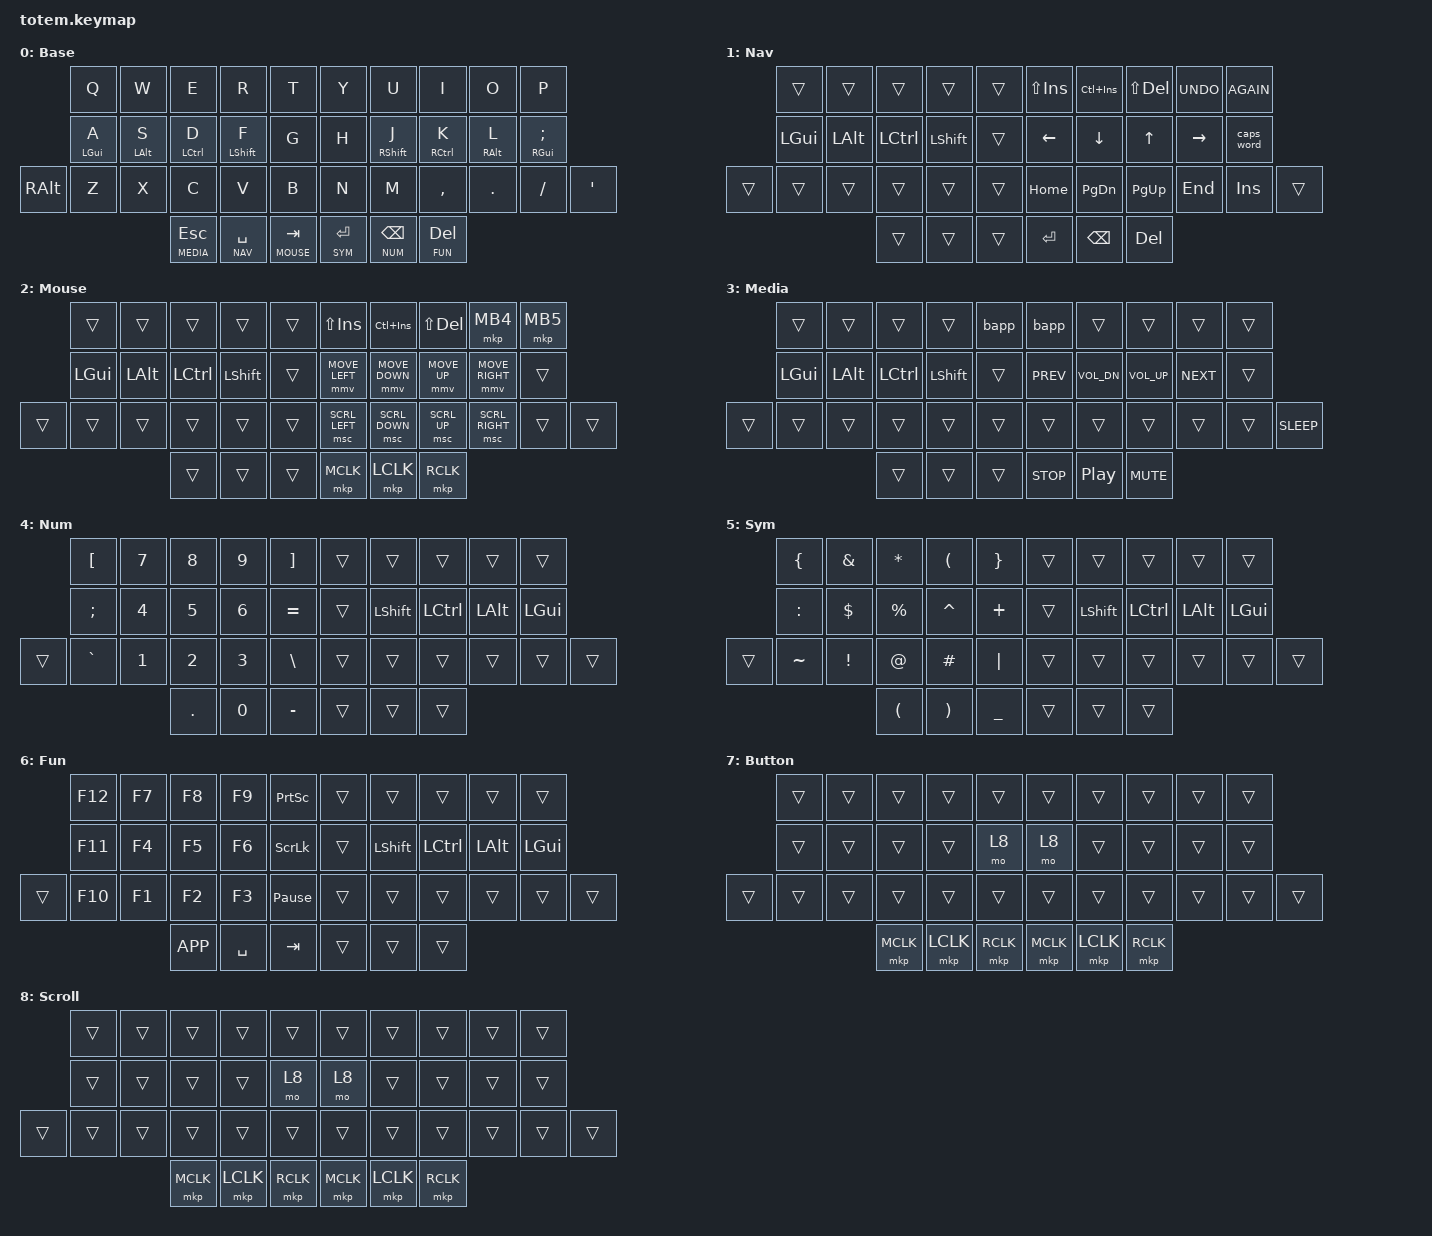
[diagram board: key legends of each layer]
//
//                                                        ▀▀▀▀▀     ▀▀▀▀▀          ▀▀█▀▀
//                                                        ▄▀▀▀▄  ▄  ▄▀▀▀▄  ▄  ▄▀▀▀▄  █  ▄▀▀▀▄
//                                                        █   █  █  █   █  █  █   █  █  █   █
//                                                         ▀▀▀   █   ▀▀▀   █   ▀▀▀   ▀   ▀▀▀
//                                                               █      ▄▄▄█▄▄▄    █   █  
//                                                               ▀      █  █  █     █▄█
//                                                             ▀▀▀▀▀    █  █  █      ▀
//                                                                      ▀  ▀  ▀
//
// ▄▄▄▄▄▄▄▄▄▄▄▄▄▄▄▄▄▄▄▄▄▄▄▄▄▄▄▄▄▄▄▄▄▄▄▄▄▄▄▄▄▄▄▄▄▄▄▄▄▄▄▄▄▄▄▄▄▄▄▄▄▄▄▄▄▄▄▄▄▄▄▄▄▄▄▄▄▄▄▄▄▄▄▄▄▄▄▄▄▄▄▄▄▄▄▄▄▄▄▄▄▄▄▄▄▄▄▄▄▄▄▄▄▄▄▄▄▄▄▄▄▄▄▄▄▄▄▄▄▄▄▄▄▄▄▄▄▄▄▄▄▄▄▄▄▄▄▄▄

#include <behaviors.dtsi>
#include <behaviors/battery_percentage_printer.dtsi>
#include <dt-bindings/zmk/keys.h>
// Speed of every &msc binding, in units/sec. Smooth scrolling on the dongle
// makes one unit 1/16 of a detent, so 160 is 10 detents/sec.
#define ZMK_POINTING_DEFAULT_SCRL_VAL 160
#include <dt-bindings/zmk/pointing.h>

#define BASE        0
#define NAV         1
#define MOUSE       2
#define MEDIA       3
#define NUM         4
#define SYM         5
#define FUN         6
#define BUTTON      7

// Key position definitions for 38-key Totem layout

#define KEYS_L 0 1 2 3 4 10 11 12 13 14 20 21 22 23 24 25  // left hand
#define KEYS_R 5 6 7 8 9 15 16 17 18 19 26 27 28 29 30 31  // right hand
#define THUMBS 32 33 34 35 36 37                           // thumbs

&mt {
    quick-tap-ms = <100>;
    global-quick-tap;
    flavor = "tap-preferred";
    tapping-term-ms = <170>;
};

&lt {
    tapping-term-ms = <240>;
    flavor = "balanced";
    quick-tap-ms = <150>;
};

/ {
    behaviors {
        // Timeless homerow mods for left hand
        // require-prior-idle-ms = 10500 / WPM (adjust based on typing speed)
        // Opposite hand trigger only, mirroring hmr: a left-hand key pressed
        // while a left-hand mod is held always resolves as a tap. Without this,
        // same-hand rolls like "as" or "ad" turn A into LGUI.

        hml: homerow_mods_left {
            compatible = "zmk,behavior-hold-tap";
            label = "HOMEROW_MODS_LEFT";
            #binding-cells = <2>;
            flavor = "balanced";
            tapping-term-ms = <280>;
            // Tap, then re-press within this window, to get a held tap that the
            // OS auto-repeats: "a" then hold "a" -> aaaaaaaa. A first hold is
            // always the modifier, so this is the only way to repeat these keys.
            quick-tap-ms = <250>;
            require-prior-idle-ms = <150>;
            bindings = <&kp>, <&kp>;

            hold-trigger-key-positions = <KEYS_R THUMBS>;
            hold-trigger-on-release;
        };

        // Timeless homerow mods for right hand
        // Urob's timeless config: opposite hand trigger only

        hmr: homerow_mods_right {
            compatible = "zmk,behavior-hold-tap";
            label = "HOMEROW_MODS_RIGHT";
            #binding-cells = <2>;
            flavor = "balanced";
            tapping-term-ms = <280>;
            quick-tap-ms = <250>;   // same tap-then-hold repeat window as hml
            require-prior-idle-ms = <150>;
            bindings = <&kp>, <&kp>;

            hold-trigger-key-positions = <KEYS_L THUMBS>;
            hold-trigger-on-release;
        };
    };

    combos {
        compatible = "zmk,combos";

        shift_caps_word_combo {
            bindings = <&caps_word>;
            key-positions = <13 16>;
            timeout-ms = <100>;
            require-prior-idle-ms = <150>;
        };
    };

    keymap {
        compatible = "zmk,keymap";

        base_layer {
            display-name = "Base";
            bindings = <
               &kp Q        &kp W        &kp E          &kp R          &kp T            &kp Y        &kp U         &kp I         &kp O        &kp P
               &hml LGUI A  &hml LALT S  &hml LCTRL D   &hml LSHFT F   &kp G            &kp H        &hmr RSHFT J  &hmr RCTRL K  &hmr RALT L  &hmr RGUI SEMICOLON
&kp RIGHT_ALT  &kp Z        &kp X        &kp C          &kp V          &kp B            &kp N        &kp M         &kp COMMA     &kp DOT      &kp SLASH            &kp SQT
                                         &lt MEDIA ESC  &lt NAV SPACE  &lt MOUSE TAB    &lt SYM RET  &lt NUM BSPC  &lt FUN DEL
            >;
        };

        nav_layer {
            display-name = "Nav";
            bindings = <
        &trans    &trans    &trans     &trans     &trans    &kp LS(INS)  &kp LC(INS)  &kp LS(DEL)  &kp K_UNDO  &kp K_AGAIN
        &kp LGUI  &kp LALT  &kp LCTRL  &kp LSHFT  &trans    &kp LEFT     &kp DOWN     &kp UP       &kp RIGHT   &caps_word
&trans  &trans    &trans    &trans     &trans     &trans    &kp HOME     &kp PG_DN    &kp PG_UP    &kp END     &kp INS      &trans
                            &trans     &trans     &trans    &kp RET      &kp BSPC     &kp DEL
            >;
        };

        mouse_layer {
            display-name = "Mouse";
            bindings = <
        &trans    &trans    &trans     &trans     &trans    &kp LS(INS)     &kp LC(INS)     &kp LS(DEL)   &mkp MB4         &mkp MB5
        &kp LGUI  &kp LALT  &kp LCTRL  &kp LSHFT  &trans    &mmv MOVE_LEFT  &mmv MOVE_DOWN  &mmv MOVE_UP  &mmv MOVE_RIGHT  &trans
&trans  &trans    &trans    &trans     &trans     &trans    &msc SCRL_LEFT  &msc SCRL_DOWN  &msc SCRL_UP  &msc SCRL_RIGHT  &trans    &trans
                            &trans     &trans     &trans    &mkp MCLK       &mkp LCLK       &mkp RCLK
            >;
        };

        media_layer {
            display-name = "Media";
            // &bapp types the battery percentage of the half it is pressed on -
            // the behavior reads event.source - so the mirrored pair gives you
            // left (pos 4) and right (pos 5) separately. The trackball has no
            // keys, so its level is not reachable this way.
            bindings = <
        &trans    &trans    &trans     &trans     &bapp     &bapp       &trans        &trans        &trans      &trans
        &kp LGUI  &kp LALT  &kp LCTRL  &kp LSHFT  &trans    &kp C_PREV  &kp C_VOL_DN  &kp C_VOL_UP  &kp C_NEXT  &trans
&trans  &trans    &trans    &trans     &trans     &trans    &trans      &trans        &trans        &trans      &trans  &kp C_SLEEP
                            &trans     &trans     &trans    &kp C_STOP  &kp C_PP      &kp C_MUTE
            >;
        };

        num_layer {
            display-name = "Num";
            bindings = <
        &kp LBKT   &kp N7  &kp N8   &kp N9  &kp RBKT     &trans  &trans     &trans     &trans    &trans
        &kp SEMI   &kp N4  &kp N5   &kp N6  &kp EQUAL    &trans  &kp LSHFT  &kp LCTRL  &kp LALT  &kp LGUI
&trans  &kp GRAVE  &kp N1  &kp N2   &kp N3  &kp BSLH     &trans  &trans     &trans     &trans    &trans    &trans
                           &kp DOT  &kp N0  &kp MINUS    &trans  &trans     &trans
            >;
        };

        sym_layer {
            display-name = "Sym";
            bindings = <
        &kp LBRC   &kp AMPS  &kp ASTRK  &kp LPAR   &kp RBRC     &trans  &trans     &trans     &trans    &trans
        &kp COLON  &kp DLLR  &kp PRCNT  &kp CARET  &kp PLUS     &trans  &kp LSHFT  &kp LCTRL  &kp LALT  &kp LGUI
&trans  &kp TILDE  &kp EXCL  &kp AT     &kp HASH   &kp PIPE     &trans  &trans     &trans     &trans    &trans    &trans
                             &kp LPAR   &kp RPAR   &kp UNDER    &trans  &trans     &trans
            >;
        };

        fun_layer {
            display-name = "Fun";
            bindings = <
        &kp F12  &kp F7  &kp F8     &kp F9     &kp PSCRN          &trans  &trans     &trans     &trans    &trans
        &kp F11  &kp F4  &kp F5     &kp F6     &kp SLCK           &trans  &kp LSHFT  &kp LCTRL  &kp LALT  &kp LGUI
&trans  &kp F10  &kp F1  &kp F2     &kp F3     &kp PAUSE_BREAK    &trans  &trans     &trans     &trans    &trans    &trans
                         &kp K_APP  &kp SPACE  &kp TAB            &trans  &trans     &trans
            >;
        };

        button_layer {
            display-name = "Button";
            bindings = <
        &trans  &trans  &trans     &trans     &trans     &trans     &trans     &trans     &trans  &trans
        &trans  &trans  &trans     &trans     &mo 8      &mo 8      &trans     &trans     &trans  &trans
&trans  &trans  &trans  &trans     &trans     &trans     &trans     &trans     &trans     &trans  &trans  &trans
                        &mkp MCLK  &mkp LCLK  &mkp RCLK  &mkp MCLK  &mkp LCLK  &mkp RCLK
            >;
        };

        scroll_layer {
            display-name = "Scroll";
            bindings = <
        &trans  &trans  &trans     &trans     &trans     &trans     &trans     &trans     &trans  &trans
        &trans  &trans  &trans     &trans     &mo 8      &mo 8      &trans     &trans     &trans  &trans
&trans  &trans  &trans  &trans     &trans     &trans     &trans     &trans     &trans     &trans  &trans  &trans
                        &mkp MCLK  &mkp LCLK  &mkp RCLK  &mkp MCLK  &mkp LCLK  &mkp RCLK
            >;
        };
    };
};
